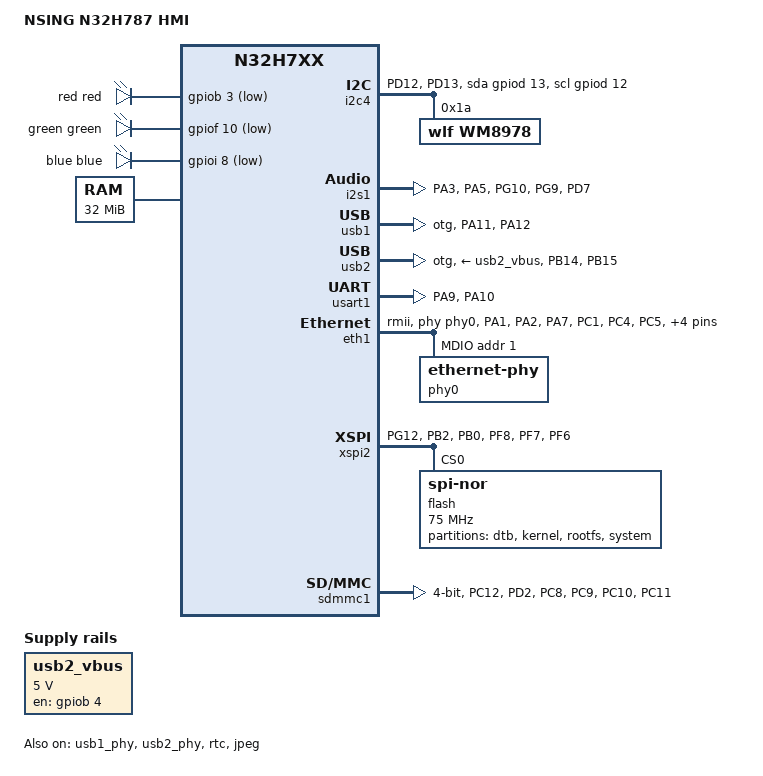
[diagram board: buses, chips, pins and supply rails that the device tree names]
// SPDX-License-Identifier: GPL-2.0-only

/dts-v1/;

/*
 * The bootloader loads the flat device tree into the "dtb" partition slot in
 * SDRAM and hands Linux the address in r2; the kernel then keeps the blob for
 * the whole run, because initial_boot_params points into it and
 * /sys/firmware/fdt hands it out verbatim.  The bootloader also makes the
 * whole slot read-only in the MPU at hand-off, so reserve the same 64 KiB
 * here: the page allocator would otherwise hand out the tail of the slot past
 * fdt_totalsize() and the first store into it would take a MemManage fault.
 *
 * The address and size here, BOOT_DTB_LOAD_ADDR and BOOT_PART_DTB_MAX in
 * bootloader/CM7/src/boot_app.c, and the bootloader's read-only MPU region
 * all describe the same slot and have to move together.  No reserved pool
 * may overlap it.
 */
/memreserve/ 0xc1e00000 0x00010000;

#include <dt-bindings/gpio/gpio.h>
#include <dt-bindings/leds/common.h>
#include "n32h7xx.dtsi"

/ {
	model = "NSING N32H787 HMI";
	compatible = "nsing,n32h787-hmi", "nsing,n32h787", "nsing,n32h7xx";

	chosen {
		/*
		 * The kernel carries no userland of its own any more; the root
		 * filesystem is the SquashFS image in the "rootfs" MTD partition
		 * (mtd2).  rootwait covers the SPI NOR probe finishing after the
		 * console is up.  mtdblock2 is used rather than mtd2 because the
		 * kernel needs a block device to mount a filesystem from.
		 */
		bootargs =
			"earlycon console=ttyS0,115200 root=/dev/mtdblock2 rootfstype=squashfs ro rootwait";
		stdout-path = &usart1;
	};

	aliases {
		serial0 = &usart1;
		usb0 = &usb1;
		usb1 = &usb2;
		i2c4 = &i2c4;
	};

	leds {
		compatible = "gpio-leds";

		led-red {
			label = "red";
			gpios = <&gpiob 3 GPIO_ACTIVE_LOW>;
			color = <LED_COLOR_ID_RED>;
			default-state = "off";
		};

		led-green {
			label = "green";
			gpios = <&gpiof 10 GPIO_ACTIVE_LOW>;
			color = <LED_COLOR_ID_GREEN>;
			default-state = "off";
		};

		led-blue {
			label = "blue";
			gpios = <&gpioi 8 GPIO_ACTIVE_LOW>;
			color = <LED_COLOR_ID_BLUE>;
			default-state = "off";
		};
	};

	usb2_vbus: regulator-usb2-vbus {
		compatible = "regulator-fixed";
		regulator-name = "usb2-vbus";
		regulator-min-microvolt = <5000000>;
		regulator-max-microvolt = <5000000>;
		gpio = <&gpiob 4 GPIO_ACTIVE_HIGH>;
		enable-active-high;
	};

	/*
	 * Bit-banged control bus on the SoC I2C4 pins (PD12/PD13).  It is
	 * shared: the WM8978 codec answers at 0x1a and an OV5640 module on
	 * either DVP connector answers at 0x3c.  The "i2c4" alias keeps the
	 * controller number Linux inherits from the pin name, so userspace
	 * sees the bus as i2c-4.
	 */
	i2c4: i2c4 {
		compatible = "i2c-gpio";
		#address-cells = <1>;
		#size-cells = <0>;
		pinctrl-names = "default";
		pinctrl-0 = <&i2c4_pins>;
		sda-gpios = <&gpiod 13 (GPIO_ACTIVE_HIGH | GPIO_OPEN_DRAIN)>;
		scl-gpios = <&gpiod 12 (GPIO_ACTIVE_HIGH | GPIO_OPEN_DRAIN)>;
		i2c-gpio,delay-us = <5>;

		wm8978: codec@1a {
			compatible = "wlf,wm8978";
			reg = <0x1a>;
			#sound-dai-cells = <0>;
		};
	};

	sound {
		compatible = "nsing,n32h787-wm8978";
		audio-cpu = <&i2s1>;
		audio-codec = <&wm8978>;
		nsing,mclk-frequency = <9375000>;
	};

	/* The bootloader loads the raw zImage+DTB at the start of the 32 MiB
	 * SDRAM window and jumps to that base address.
	 */
	memory@c0000000 {
		device_type = "memory";
		reg = <0xc0000000 0x02000000>;
	};

	/*
	 * The SoC has no IOMMU and this kernel runs without an MMU, so
	 * dma_alloc_coherent() can only succeed if a pool is reserved up
	 * front (CONFIG_DMA_GLOBAL_POOL).  dma_pool backs every on-chip DMA
	 * master that has no pool of its own: SDMMC, USB and friends.  ETH,
	 * the DVP and JPEG have their own because their buffers are much larger
	 * than the default pool.
	 */
	reserved-memory {
		#address-cells = <1>;
		#size-cells = <1>;
		ranges;

		/*
		 * Optional devices allocate their large DMA pools from one
		 * contiguous band.  Each pool stays disabled here and is enabled
		 * by exactly one feature overlay, so feature combinations never
		 * need separate board DTS files or duplicate the address map.
		 */
		graphics_dma_pool: dma-pool@c1900000 {
			compatible = "shared-dma-pool";
			reg = <0xc1900000 0x00300000>;
			no-map;
			status = "disabled";
		};

		cam_dma_pool: dma-pool@c1c00000 {
			compatible = "shared-dma-pool";
			reg = <0xc1c00000 0x00200000>;
			no-map;
			status = "disabled";
		};

		/* Scanline, descriptor and coefficient storage for the JPEG codec. */
		jpeg_dma_pool: dma-pool@c1e10000 {
			compatible = "shared-dma-pool";
			reg = <0xc1e10000 0x00100000>;
			no-map;
		};

		dma_pool: dma-pool@c1f80000 {
			compatible = "shared-dma-pool";
			reg = <0xc1f80000 0x00080000>;
			no-map;
			linux,dma-default;
		};

		eth_dma_pool: dma-pool@24000000 {
			compatible = "shared-dma-pool";
			reg = <0x24000000 0x00040000>;
			no-map;
		};
	};
};

/*
 * Pin groups.  The pin controller resolves the signal name of each pin to the
 * alternate-function number that routes it, so a group reads as the wiring it
 * describes.  "function" is either a peripheral name, which picks whichever
 * signal that peripheral has on each pin, or an exact signal name.
 */
&pinctrl {
	i2c4_pins: i2c4-pins {
		pins = "PD12", "PD13";
		bias-pull-up;
		drive-strength = <3>;
	};

	audio_pins: audio-pins {
		mclk-pins {
			pins = "PA3";
			function = "i2s4_mck";
			bias-disable;
			drive-strength = <3>;
			slew-rate = <1>;
		};
		bclk-pins {
			pins = "PA5";
			function = "i2s1_ck";
			bias-disable;
			drive-strength = <0>;
			slew-rate = <1>;
		};
		ws-pins {
			pins = "PG10";
			function = "i2s1_ws";
			bias-disable;
			drive-strength = <3>;
			slew-rate = <1>;
		};
		data-pins {
			pins = "PG9";
			function = "i2s1_sdi";
			bias-disable;
			drive-strength = <3>;
			slew-rate = <1>;
		};
		dac-pins {
			pins = "PD7";
			function = "i2s1_sdo";
			bias-disable;
			drive-strength = <3>;
			slew-rate = <1>;
		};
	};
	usb1_pins: usb1-pins {
		pins = "PA11", "PA12";
		function = "usb1";
		bias-disable;
	};

	usb2_pins: usb2-pins {
		pins = "PB14", "PB15";
		function = "usb2";
		bias-disable;
	};

	/* Optional for boards with an actual ID connection; not the HMI Type-C. */
	usb2_id_pin: usb2-id-pin {
		pins = "PB12";
		function = "usb2_id";
		bias-pull-up;
	};
	usart1_pins: usart1-pins {
		pins = "PA9", "PA10";
		function = "usart1";
		bias-pull-up;
	};

	eth1_pins: eth1-pins {
		pins = "PA1", "PA2", "PA7", "PC1", "PC4", "PC5",
		       "PB11", "PG13", "PG14";
		function = "eth1";
		bias-disable;
	};

	xspi2_pins: xspi2-pins {
		pins = "PG12", "PB2", "PB0", "PF8", "PF7", "PF6";
		function = "xspi2";
		bias-disable;
		drive-strength = <3>;
		slew-rate = <0>;
	};

	sdmmc1_pins: sdmmc1-pins {
		sdmmc1-ck-pins {
			pins = "PC12";
			function = "sdmmc1_ck";
			bias-disable;
			drive-strength = <1>;
			slew-rate = <0>;
		};

		sdmmc1-data-pins {
			pins = "PD2", "PC8", "PC9", "PC10", "PC11";
			function = "sdmmc1";
			bias-pull-up;
			drive-strength = <2>;
			slew-rate = <0>;
		};
	};

};

&usb1_phy {
	status = "okay";
};

&dma1 {
	status = "okay";
};

&i2s1 {
	pinctrl-names = "default";
	pinctrl-0 = <&audio_pins>;
	nsing,ws-monitor = <&gpiog 10 GPIO_ACTIVE_HIGH>;
	status = "okay";
};

&usb2_phy {
	status = "okay";
};

&usb1 {
	pinctrl-names = "default";
	pinctrl-0 = <&usb1_pins>;
	/* PA10 stays USART1 RX; the HMI board has no usable USB1 ID. */
	dr_mode = "otg";
	usb-role-switch;
	role-switch-default-mode = "peripheral";
	status = "okay";
};

&usb2 {
	pinctrl-names = "default";
	pinctrl-0 = <&usb2_pins>;
	/* R147 is NC: PB12 is not a Type-C role detector on this board. */
	dr_mode = "otg";
	usb-role-switch;
	role-switch-default-mode = "host";
	vbus-supply = <&usb2_vbus>;
	status = "okay";
};

&usart1 {
	status = "okay";

	/*
	 * PA9 is USART1_TX and PA10 is USART1_RX.  The pin controller knows
	 * which alternate function of this SoC carries each signal, so the
	 * board only has to say which signal it wants on which pin.
	 */
	pinctrl-names = "default";
	pinctrl-0 = <&usart1_pins>;
};

&eth1 {
	status = "okay";
	memory-region = <&eth_dma_pool>;

	/*
	 * RMII to the on-board JL1111B PHY (U6, MDIO address 1).  The PHY
	 * drives the 50 MHz RMII reference clock back onto ETH_REFCLK/PA1,
	 * so the MAC is a REF_CLK consumer; there is no GTX_CLK to generate.
	 * The JL1111 page-7 RMII setup register is programmed by the PHY
	 * driver to make the PHY the clock source.
	 */
	phy-mode = "rmii";
	phy-handle = <&phy0>;

	/*
	 * RMII pin group: PA1 reference clock, PA2 MDIO, PA7 CRS_DV, PC1 MDC,
	 * PC4/PC5 RXD0/RXD1, PB11 TX_EN and PG13/PG14 TXD0/TXD1.
	 */
	pinctrl-names = "default";
	pinctrl-0 = <&eth1_pins>;

	/* The PHY reset line is PB1 and it is active low. */
	phy-reset-gpios = <&gpiob 1 GPIO_ACTIVE_LOW>;
	phy-reset-duration = <20>;

	mdio {
		#address-cells = <1>;
		#size-cells = <0>;
		compatible = "nsing,n32h7xx-mdio";

		phy0: ethernet-phy@1 {
			reg = <0x1>;
		};
	};
};

&xspi2 {
	status = "okay";

	/*
	 * W25Q128 on XSPI2: single-line commands and Quad I/O reads.
	 */
	pinctrl-names = "default";
	pinctrl-0 = <&xspi2_pins>;

	rx-sample-delay-ns = <10>;

	flash@0 {
		compatible = "jedec,spi-nor";
		reg = <0>;
		spi-max-frequency = <75000000>;
		spi-tx-bus-width = <1>;
		spi-rx-bus-width = <4>;

		/*
		 * Partition table shared by the bootloader, this device tree and
		 * tools/spi_image.py: all three must agree.
		 *
		 * The bootloader reads the dtb and kernel partitions and passes
		 * the DTB address to Linux in r2.  rootfs and system are only
		 * ever reached through MTD, so the bootloader does not load them.
		 *
		 * All four partitions are writable at run time.  dtb and kernel
		 * are deliberately not "read-only": that is what lets n32-flash
		 * OTA them over the network, and it validates the image header
		 * (zImage magic / DTB magic) before erasing anything.  A new
		 * kernel or dtb only takes effect after a reboot, and a bad image
		 * is recovered through the bootloader's USB MSC mode.
		 */
		partitions {
			compatible = "fixed-partitions";
			#address-cells = <1>;
			#size-cells = <1>;

			partition@0 {
				label = "dtb";
				reg = <0x000000 0x010000>;
			};

			partition@10000 {
				label = "kernel";
				reg = <0x010000 0x400000>;
			};

			/*
			 * SquashFS is read-only by nature; the partition itself
			 * stays writable so a new rootfs can be flashed in place.
			 */
			partition@410000 {
				label = "rootfs";
				reg = <0x410000 0x300000>;
			};

			/*
			 * Size 0 means "up to the end of the flash", so system
			 * absorbs whatever the board's NOR part provides instead
			 * of pinning the layout to one device size.
			 */
			partition@710000 {
				label = "system";
				reg = <0x710000 0x000000>;
			};
		};
	};
};

&sdmmc1 {
	status = "okay";
	bus-width = <4>;
	no-1-8-v;
	no-sdio;
	no-mmc;
	broken-cd;
	disable-wp;
	/* PLL2A at 100 MHz permits the standard SD high-speed 50 MHz bus. */
	max-frequency = <50000000>;

	/* Fast edges on all six SD signals.  The drive-strength encoding in
	 * the pin group gives PC12 8 mA; encoding 2 gives PD2/PC9-PC11
	 * 4 mA and the 5 V tolerant PC8 pad 2 mA, matching the bootloader.
	 *
	 * SDMMC1 is wired to the on-board microSD slot:
	 *   PC12 CK, PD2 CMD, PC8 D0, PC9 D1, PC10 D2, PC11 D3.
	 *
	 * CMD and DAT lines need pull-ups; CK is driven by the controller.
	 */
	pinctrl-names = "default";
	pinctrl-0 = <&sdmmc1_pins>;
};

/*
 * The RTC has no VBAT battery on this board: the backup domain is fed from
 * VDD, so a power cycle loses the time and a warm reset keeps it.  There is
 * nothing to configure in the device tree -- the calendar itself is set from
 * userspace once NTP has stepped the system clock.
 */
&rtc {
	status = "okay";
};

/* The hardware JPEG codec is independent of camera capture. */
&jpeg {
	memory-region = <&jpeg_dma_pool>;
	status = "okay";
};
